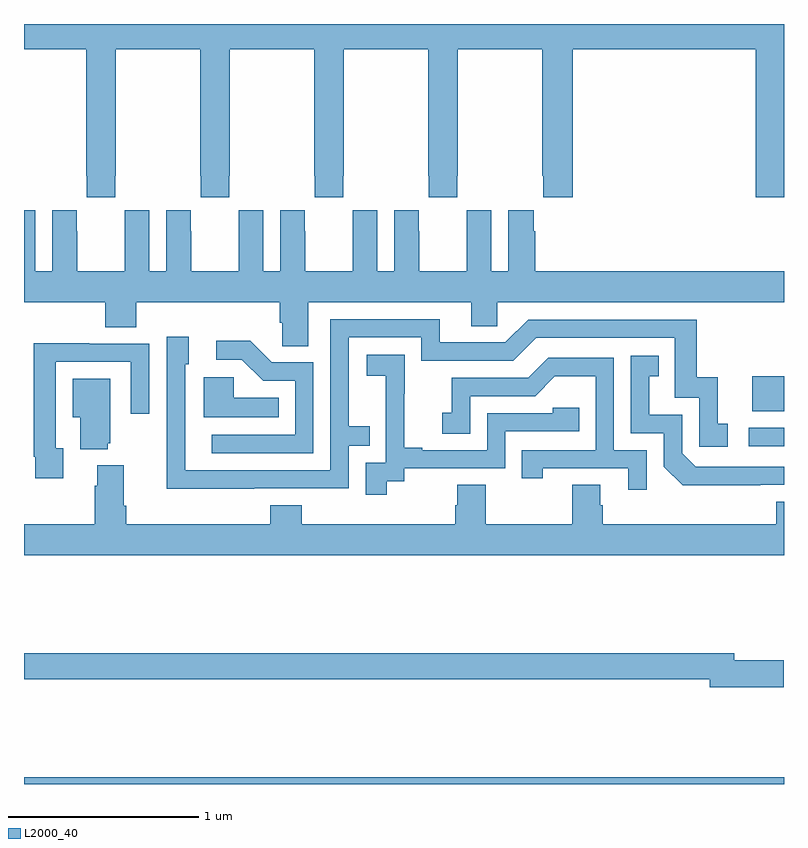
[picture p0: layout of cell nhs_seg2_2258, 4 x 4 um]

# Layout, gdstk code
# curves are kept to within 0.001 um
import gdstk
lib = gdstk.Library(unit=1e-6, precision=1e-09)
def R(c, l, rs):  # rectangles x0, y0, x1, y1
    for r in rs: c.add(gdstk.rectangle(r[:2], r[2:], *l))
def P(c, l, *ps):  # polygons
    for p in ps: c.add(gdstk.Polygon(p, *l))
L2000_40 = (2000, 40)

nhs_seg2_2258 = lib.new_cell('nhs_seg2_2258')
R(nhs_seg2_2258, L2000_40, [(229,611.8,233,611.836), (232.815,613.578,233,613.674), (232.832,613.763,233,613.945)])
P(nhs_seg2_2258, L2000_40, [(229.479,615.001),(229.482,615.001),(229.482,615.668),(229.927,615.668),(229.927,615.001),(229.929,615.001),(229.929,614.889),(230.079,614.889),(230.079,615.001),(230.082,615.001),(230.082,615.668),(230.527,615.668),(230.527,615.001),(230.529,615.001),(230.529,614.889),(230.679,614.889),(230.679,615.001),(230.682,615.001),(230.682,615.668),(231.127,615.668),(231.127,615.001),(231.129,615.001),(231.129,614.889),(231.279,614.889),(231.279,615.001),(231.282,615.001),(231.282,615.668),(231.727,615.668),(231.727,615.001),(231.733,615.001),(231.733,614.889),(231.887,614.889),(231.887,615.668),(232.85,615.668),(232.85,614.889),(233,614.889),(233,615.8),(229,615.8),(229,615.668),(229.327,615.668),(229.327,615.001),(229.329,615.001),(229.329,614.889),(229.479,614.889)],
  [(230.497,614.336),(231.353,614.336),(231.353,614.209),(231.492,614.209),(231.492,614.336),(233,614.336),(233,614.5),(231.692,614.5),(231.692,614.708),(231.682,614.708),(231.682,614.821),(231.548,614.821),(231.548,614.5),(231.46,614.5),(231.46,614.821),(231.33,614.821),(231.33,614.708),(231.329,614.708),(231.329,614.5),(231.079,614.5),(231.079,614.708),(231.078,614.708),(231.078,614.821),(230.948,614.821),(230.948,614.5),(230.86,614.5),(230.86,614.821),(230.73,614.821),(230.73,614.708),(230.729,614.708),(230.729,614.5),(230.479,614.5),(230.479,614.708),(230.478,614.708),(230.478,614.821),(230.348,614.821),(230.348,614.5),(230.26,614.5),(230.26,614.821),(230.13,614.821),(230.13,614.708),(230.129,614.708),(230.129,614.5),(229.879,614.5),(229.879,614.708),(229.878,614.708),(229.878,614.821),(229.748,614.821),(229.748,614.5),(229.66,614.5),(229.66,614.821),(229.53,614.821),(229.53,614.708),(229.529,614.708),(229.529,614.5),(229.279,614.5),(229.279,614.708),(229.278,614.708),(229.278,614.821),(229.148,614.821),(229.148,614.5),(229.06,614.5),(229.06,614.821),(229,614.821),(229,614.336),(229.427,614.336),(229.427,614.203),(229.592,614.203),(229.592,614.336),(230.345,614.336),(230.345,614.227),(230.358,614.227),(230.358,614.104),(230.497,614.104)],
  [(230.213,613.356),(230.709,613.356),(230.709,613.581),(230.819,613.581),(230.819,613.682),(230.709,613.682),(230.709,614.151),(231.09,614.151),(231.09,614.028),(231.576,614.028),(231.696,614.148),(232.425,614.148),(232.425,613.833),(232.554,613.833),(232.554,613.575),(232.705,613.575),(232.705,613.695),(232.652,613.695),(232.652,613.942),(232.541,613.942),(232.541,614.244),(231.654,614.244),(231.534,614.124),(231.187,614.124),(231.187,614.247),(230.613,614.247),(230.613,613.452),(229.849,613.452),(229.848,614.01),(229.867,614.01),(229.867,614.155),(229.752,614.155),(229.752,613.661),(229.75,613.661),(229.75,613.355)],
  [(230.523,614.019),(230.304,614.019),(230.191,614.132),(230.013,614.132),(230.013,614.034),(230.147,614.034),(230.258,613.923),(230.427,613.923),(230.427,613.638),(229.989,613.638),(229.989,613.542),(230.523,613.542)],
  [(229.207,613.566),(229.167,613.566),(229.167,614.022),(229.563,614.022),(229.563,613.749),(229.659,613.749),(229.659,614.118),(229.343,614.118),(229.343,614.12),(229.051,614.12),(229.051,613.522),(229.059,613.522),(229.059,613.41),(229.207,613.41)],
  [(230.908,613.393),(231,613.393),(231,613.461),(231.534,613.461),(231.534,613.656),(231.923,613.656),(231.923,613.779),(231.783,613.779),(231.783,613.752),(231.438,613.752),(231.438,613.557),(231.097,613.557),(231.097,613.57),(231.002,613.57),(231.002,613.853),(231.003,613.853),(231.003,614.059),(230.805,614.059),(230.805,613.949),(230.903,613.949),(230.903,613.721),(230.904,613.721),(230.904,613.491),(230.799,613.491),(230.799,613.323),(230.908,613.323)],
  [(232.874,613.374),(233,613.374),(233,613.47),(232.536,613.47),(232.464,613.542),(232.464,613.743),(232.291,613.743),(232.291,613.947),(232.34,613.947),(232.34,614.053),(232.194,614.053),(232.194,613.647),(232.368,613.647),(232.368,613.47),(232.466,613.373)],
  [(232.278,613.557),(232.104,613.557),(232.104,614.043),(231.758,614.043),(231.653,613.938),(231.25,613.938),(231.25,613.753),(231.201,613.753),(231.201,613.644),(231.348,613.644),(231.348,613.842),(231.69,613.842),(231.794,613.946),(232.008,613.946),(232.008,613.557),(231.619,613.557),(231.619,613.41),(231.73,613.41),(231.73,613.461),(232.181,613.461),(232.181,613.35),(232.278,613.35)],
  [(230.342,613.834),(230.103,613.834),(230.103,613.942),(229.946,613.942),(229.946,613.73),(230.342,613.73)],
  [(229.442,613.593),(229.453,613.593),(229.453,613.933),(229.256,613.933),(229.256,613.73),(229.295,613.73),(229.295,613.562),(229.442,613.562)],
  [(233,613.285),(232.958,613.285),(232.958,613.168),(232.046,613.168),(232.046,613.266),(232.033,613.266),(232.033,613.376),(231.886,613.376),(231.886,613.168),(231.429,613.168),(231.429,613.376),(231.281,613.376),(231.281,613.266),(231.269,613.266),(231.269,613.168),(230.462,613.168),(230.462,613.267),(230.297,613.267),(230.297,613.168),(229.538,613.168),(229.538,613.264),(229.525,613.264),(229.525,613.477),(229.385,613.477),(229.385,613.37),(229.373,613.37),(229.373,613.168),(229,613.168),(229,613.004),(233,613.004)],
  [(232.999,612.452),(232.738,612.452),(232.738,612.488),(229,612.488),(229,612.352),(232.61,612.352),(232.61,612.31),(232.999,612.31)])

lib.write_gds('nhs_seg2_2258.gds')
